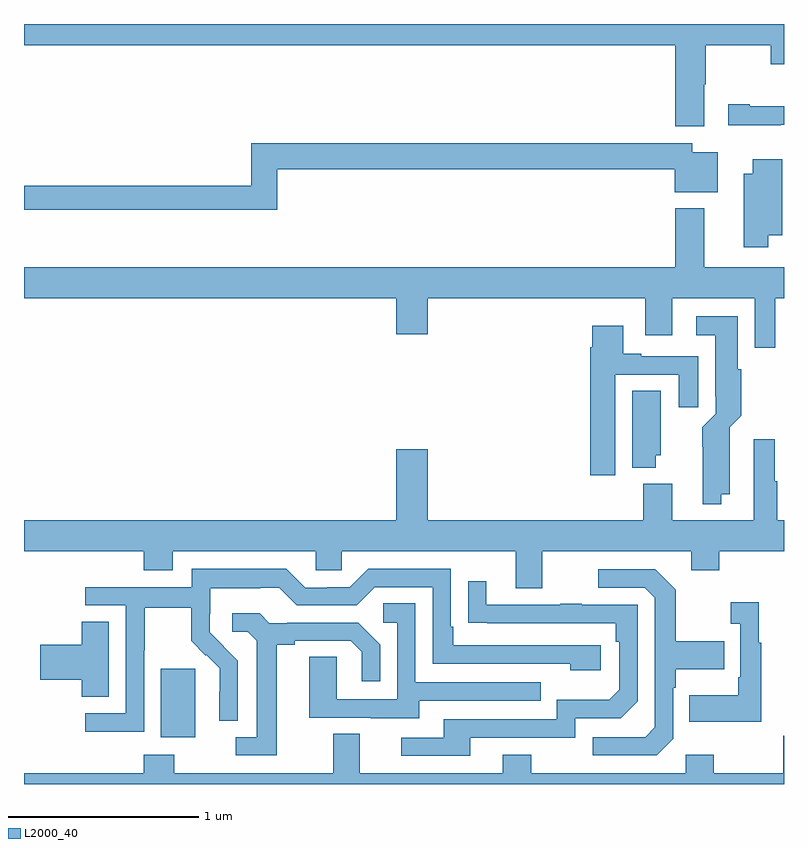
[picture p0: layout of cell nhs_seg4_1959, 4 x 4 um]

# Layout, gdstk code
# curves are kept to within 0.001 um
import gdstk
lib = gdstk.Library(unit=1e-6, precision=1e-09)
def R(c, l, rs):  # rectangles x0, y0, x1, y1
    for r in rs: c.add(gdstk.rectangle(r[:2], r[2:], *l))
def P(c, l, *ps):  # polygons
    for p in ps: c.add(gdstk.Polygon(p, *l))
L2000_40 = (2000, 40)

nhs_seg4_1959 = lib.new_cell('nhs_seg4_1959')
R(nhs_seg4_1959, L2000_40, [(211.721,825.146,211.9,825.507)])
P(nhs_seg4_1959, L2000_40, [(214.579,828.584),(214.587,828.584),(214.587,828.788),(214.93,828.788),(214.93,828.689),(215,828.689),(215,828.9),(211,828.9),(211,828.788),(214.427,828.788),(214.427,828.363),(214.579,828.363)],
  [(214.982,828.369),(215,828.369),(215,828.468),(214.819,828.468),(214.819,828.478),(214.707,828.478),(214.707,828.368),(214.982,828.368)],
  [(212.333,828.136),(214.424,828.136),(214.424,828.014),(214.651,828.014),(214.651,828.226),(214.518,828.226),(214.518,828.272),(212.197,828.272),(212.197,828.05),(211,828.05),(211,827.922),(212.333,827.922)],
  [(214.917,827.789),(214.99,827.789),(214.99,828.187),(214.835,828.187),(214.835,828.112),(214.787,828.112),(214.787,827.724),(214.917,827.724)],
  [(214.954,827.456),(215,827.456),(215,827.62),(214.579,827.62),(214.579,827.929),(214.427,827.929),(214.427,827.62),(211,827.62),(211,827.456),(212.96,827.456),(212.96,827.268),(213.124,827.268),(213.124,827.456),(214.271,827.456),(214.271,827.262),(214.411,827.262),(214.411,827.456),(214.845,827.456),(214.845,827.196),(214.954,827.196)],
  [(214.669,826.424),(214.714,826.424),(214.715,826.778),(214.774,826.837),(214.774,827.082),(214.756,827.082),(214.756,827.362),(214.539,827.362),(214.539,827.261),(214.637,827.261),(214.637,826.942),(214.641,826.942),(214.641,826.848),(214.571,826.778),(214.572,826.373),(214.669,826.373)],
  [(214.111,827.055),(214.445,827.055),(214.445,826.884),(214.549,826.884),(214.549,827.151),(214.249,827.151),(214.249,827.164),(214.153,827.164),(214.153,827.311),(213.992,827.311),(213.992,827.198),(213.98,827.198),(213.98,826.524),(214.111,826.524)],
  [(214.324,826.629),(214.351,826.629),(214.351,826.97),(214.202,826.97),(214.202,826.565),(214.324,826.565)],
  [(213.727,826.124),(214.511,826.124),(214.511,826.025),(214.659,826.025),(214.659,826.124),(215,826.124),(215,826.288),(214.964,826.288),(214.964,826.493),(214.951,826.493),(214.951,826.714),(214.841,826.714),(214.841,826.288),(214.411,826.288),(214.411,826.48),(214.259,826.48),(214.259,826.288),(213.124,826.288),(213.124,826.663),(212.96,826.663),(212.96,826.288),(211,826.288),(211,826.124),(211.631,826.124),(211.631,826.025),(211.783,826.025),(211.783,826.124),(212.535,826.124),(212.535,826.026),(212.673,826.026),(212.673,826.124),(213.587,826.124),(213.587,825.93),(213.727,825.93)],
  [(211.632,825.604),(211.635,825.604),(211.635,825.828),(211.879,825.828),(211.879,825.653),(211.956,825.576),(211.959,825.579),(212.03,825.509),(212.03,825.386),(212.028,825.386),(212.028,825.232),(212.124,825.232),(212.124,825.55),(211.978,825.698),(211.978,825.795),(211.98,825.795),(211.98,825.929),(212.243,825.929),(212.243,825.933),(212.343,825.933),(212.436,825.84),(212.751,825.84),(212.847,825.936),(213.15,825.936),(213.15,825.534),(213.875,825.534),(213.875,825.5),(214.036,825.5),(214.036,825.63),(213.259,825.63),(213.259,825.727),(213.246,825.727),(213.246,826.032),(212.811,826.032),(212.715,825.936),(212.597,825.936),(212.597,825.933),(212.481,825.933),(212.381,826.033),(211.884,826.033),(211.884,825.936),(211.323,825.936),(211.323,825.84),(211.536,825.84),(211.536,825.273),(211.323,825.273),(211.323,825.175),(211.632,825.175)],
  [(214.416,825.138),(214.416,825.407),(214.429,825.407),(214.429,825.503),(214.685,825.503),(214.685,825.651),(214.429,825.651),(214.429,825.923),(214.323,826.029),(214.023,826.029),(214.023,825.933),(214.266,825.933),(214.32,825.879),(214.32,825.198),(214.269,825.147),(213.993,825.147),(213.993,825.051),(214.329,825.051)],
  [(213.349,825.144),(213.9,825.144),(213.9,825.246),(214.14,825.246),(214.23,825.336),(214.23,825.843),(213.935,825.843),(213.935,825.848),(213.823,825.848),(213.823,825.843),(213.433,825.843),(213.433,825.967),(213.337,825.967),(213.337,825.748),(214.114,825.747),(214.114,825.65),(214.134,825.65),(214.134,825.396),(214.081,825.343),(213.804,825.343),(213.804,825.24),(213.209,825.24),(213.209,825.144),(212.985,825.144),(212.985,825.048),(213.349,825.048)],
  [(214.879,825.643),(214.867,825.643),(214.867,825.856),(214.719,825.856),(214.719,825.743),(214.77,825.743),(214.77,825.463),(214.758,825.463),(214.758,825.367),(214.501,825.367),(214.501,825.227),(214.879,825.227)],
  [(213.079,825.339),(213.719,825.339),(213.719,825.435),(213.06,825.435),(213.06,825.851),(212.892,825.851),(212.892,825.75),(212.964,825.75),(212.964,825.345),(212.646,825.345),(212.646,825.569),(212.501,825.569),(212.501,825.249),(212.825,825.249),(212.825,825.245),(213.079,825.245)],
  [(212.329,825.632),(212.425,825.632),(212.425,825.654),(212.72,825.654),(212.777,825.597),(212.777,825.441),(212.874,825.441),(212.874,825.634),(212.758,825.75),(212.386,825.75),(212.386,825.747),(212.292,825.747),(212.24,825.799),(212.097,825.799),(212.097,825.702),(212.178,825.702),(212.225,825.655),(212.225,825.147),(212.115,825.147),(212.115,825.051),(212.329,825.051)],
  [(211.447,825.755),(211.304,825.755),(211.304,825.632),(211.086,825.632),(211.086,825.449),(211.304,825.449),(211.304,825.358),(211.447,825.358)],
  [(215,825.155),(214.996,825.155),(214.996,824.956),(214.629,824.956),(214.629,825.055),(214.482,825.055),(214.482,824.956),(213.669,824.956),(213.669,825.055),(213.521,825.055),(213.521,824.956),(212.767,824.956),(212.767,825.164),(212.627,825.164),(212.627,824.956),(211.791,824.956),(211.791,825.055),(211.631,825.055),(211.631,824.956),(211,824.956),(211,824.9),(215,824.9)])

lib.write_gds('nhs_seg4_1959.gds')
